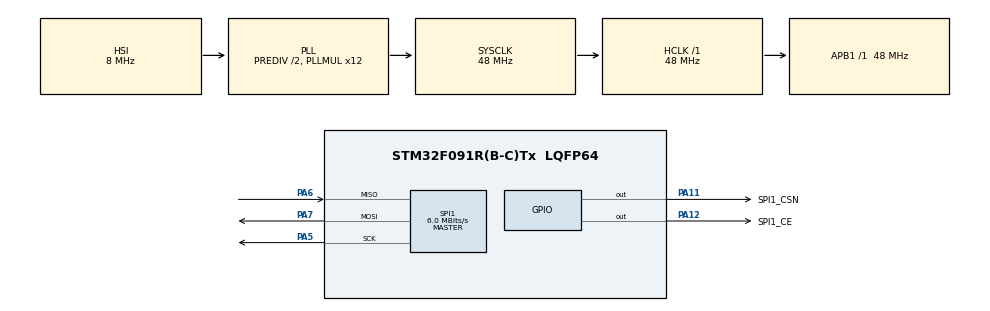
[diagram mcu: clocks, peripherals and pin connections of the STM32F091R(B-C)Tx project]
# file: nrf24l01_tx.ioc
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Mcu.Family=STM32F0
Mcu.Name=STM32F091R(B-C)Tx
Mcu.Package=LQFP64
PA11.GPIO_Label=SPI1_CSN
PA11.Signal=GPIO_Output
PA12.GPIO_Label=SPI1_CE
PA12.Signal=GPIO_Output
PA5.Mode=Full_Duplex_Master
PA5.Signal=SPI1_SCK
PA6.Mode=Full_Duplex_Master
PA6.Signal=SPI1_MISO
PA7.Mode=Full_Duplex_Master
PA7.Signal=SPI1_MOSI
PF0-OSC_IN.Mode=HSE-External-Oscillator
PF0-OSC_IN.Signal=RCC_OSC_IN
PF1-OSC_OUT.Mode=HSE-External-Oscillator
PF1-OSC_OUT.Signal=RCC_OSC_OUT
ProjectManager.HeapSize=0x200
ProjectManager.StackSize=0x400
ProjectManager.TargetToolchain=STM32CubeIDE
RCC.AHBFreq_Value=48000000
RCC.APB1Freq_Value=48000000
RCC.APB1TimFreq_Value=48000000
RCC.FLatency-AdvancedSettings=FLASH_LATENCY_1
RCC.HCLKFreq_Value=48000000
RCC.PLLDivider=RCC_PREDIV_DIV2
RCC.PLLMUL=RCC_PLL_MUL12
RCC.PREFETCH_ENABLE-AdvancedSettings=1
RCC.SYSCLKFreq_VALUE=48000000
RCC.SYSCLKSource=RCC_SYSCLKSOURCE_PLLCLK
SPI1.BaudRatePrescaler=SPI_BAUDRATEPRESCALER_8
SPI1.CalculateBaudRate=6.0 MBits/s
SPI1.DataSize=SPI_DATASIZE_8BIT
SPI1.Direction=SPI_DIRECTION_2LINES
SPI1.Mode=SPI_MODE_MASTER
SPI1.VirtualType=VM_MASTER
board=NUCLEO-F091RC

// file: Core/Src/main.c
/* USER CODE BEGIN Header */
/**
  ******************************************************************************
  * @file           : main.c
  * @brief          : Main program body
  ******************************************************************************
  * @attention
  *
  * Copyright (c) 2023 STMicroelectronics.
  * All rights reserved.
  *
  * This software is licensed under terms that can be found in the LICENSE file
  * in the root directory of this software component.
  * If no LICENSE file comes with this software, it is provided AS-IS.
  *
  ******************************************************************************
  */
/* USER CODE END Header */
#include "main.h"

/* USER CODE BEGIN Includes */
#include "MY_NRF24.h"
/* USER CODE END Includes */

SPI_HandleTypeDef hspi1;

void SystemClock_Config(void);
static void MX_GPIO_Init(void);
static void MX_SPI1_Init(void);

/* USER CODE BEGIN 0 */

uint64_t TxpipeAddrs = 0x223344AA223344AA;
uint64_t RxpipeAddrs = 0xFE6B2840FE6B2840;
uint8_t myTxData[32] = {0};

/* USER CODE END 0 */

int main(void)
{

  /* MCU Configuration--------------------------------------------------------*/

  /* Reset of all peripherals, Initializes the Flash interface and the Systick. */
  HAL_Init();

  /* Configure the system clock */
  SystemClock_Config();

  /* Initialize all configured peripherals */
  MX_GPIO_Init();
  MX_SPI1_Init();
  /* USER CODE BEGIN 2 */

	NRF24_begin(GPIOA, GPIO_PIN_11, GPIO_PIN_12, hspi1);

	//**** TRANSMIT - ACK ****//
	NRF24_stopListening();
	NRF24_openWritingPipe(TxpipeAddrs);
	NRF24_openReadingPipe(1, RxpipeAddrs);
//	NRF24_setAutoAck(true);
	NRF24_setChannel(52);
	NRF24_setPayloadSize(32);

//	NRF24_enableDynamicPayloads();
//	NRF24_enableAckPayload();
  /* USER CODE END 2 */

  /* Infinite loop */
  while (1)
  {

    /* USER CODE BEGIN 3 */
	if(NRF24_write(myTxData, 32))
	{
		NRF24_startListening();
		NRF24_DelayMicroSeconds(150);
		while(!NRF24_available())
		NRF24_read(myTxData, 32);
		NRF24_stopListening();
		NRF24_DelayMicroSeconds(150);
	}
	HAL_Delay(200);
  }
  /* USER CODE END 3 */
}

void SystemClock_Config(void)
{
  RCC_OscInitTypeDef RCC_OscInitStruct = {0};
  RCC_ClkInitTypeDef RCC_ClkInitStruct = {0};

  /** Initializes the RCC Oscillators according to the specified parameters
  * in the RCC_OscInitTypeDef structure.
  */
  RCC_OscInitStruct.OscillatorType = RCC_OSCILLATORTYPE_HSI;
  RCC_OscInitStruct.HSIState = RCC_HSI_ON;
  RCC_OscInitStruct.HSICalibrationValue = RCC_HSICALIBRATION_DEFAULT;
  RCC_OscInitStruct.PLL.PLLState = RCC_PLL_ON;
  RCC_OscInitStruct.PLL.PLLSource = RCC_PLLSOURCE_HSI;
  RCC_OscInitStruct.PLL.PLLMUL = RCC_PLL_MUL12;
  RCC_OscInitStruct.PLL.PREDIV = RCC_PREDIV_DIV2;
  if (HAL_RCC_OscConfig(&RCC_OscInitStruct) != HAL_OK)
  {
    Error_Handler();
  }

  /** Initializes the CPU, AHB and APB buses clocks
  */
  RCC_ClkInitStruct.ClockType = RCC_CLOCKTYPE_HCLK|RCC_CLOCKTYPE_SYSCLK
                              |RCC_CLOCKTYPE_PCLK1;
  RCC_ClkInitStruct.SYSCLKSource = RCC_SYSCLKSOURCE_PLLCLK;
  RCC_ClkInitStruct.AHBCLKDivider = RCC_SYSCLK_DIV1;
  RCC_ClkInitStruct.APB1CLKDivider = RCC_HCLK_DIV1;

  if (HAL_RCC_ClockConfig(&RCC_ClkInitStruct, FLASH_LATENCY_1) != HAL_OK)
  {
    Error_Handler();
  }
}

static void MX_SPI1_Init(void)
{

  /* SPI1 parameter configuration*/
  hspi1.Instance = SPI1;
  hspi1.Init.Mode = SPI_MODE_MASTER;
  hspi1.Init.Direction = SPI_DIRECTION_2LINES;
  hspi1.Init.DataSize = SPI_DATASIZE_8BIT;
  hspi1.Init.CLKPolarity = SPI_POLARITY_LOW;
  hspi1.Init.CLKPhase = SPI_PHASE_1EDGE;
  hspi1.Init.NSS = SPI_NSS_SOFT;
  hspi1.Init.BaudRatePrescaler = SPI_BAUDRATEPRESCALER_8;
  hspi1.Init.FirstBit = SPI_FIRSTBIT_MSB;
  hspi1.Init.TIMode = SPI_TIMODE_DISABLE;
  hspi1.Init.CRCCalculation = SPI_CRCCALCULATION_DISABLE;
  hspi1.Init.CRCPolynomial = 7;
  hspi1.Init.CRCLength = SPI_CRC_LENGTH_DATASIZE;
  hspi1.Init.NSSPMode = SPI_NSS_PULSE_ENABLE;
  if (HAL_SPI_Init(&hspi1) != HAL_OK)
  {
    Error_Handler();
  }

}

static void MX_GPIO_Init(void)
{
  GPIO_InitTypeDef GPIO_InitStruct = {0};

  /* GPIO Ports Clock Enable */
  __HAL_RCC_GPIOF_CLK_ENABLE();
  __HAL_RCC_GPIOA_CLK_ENABLE();

  /*Configure GPIO pin Output Level */
  HAL_GPIO_WritePin(GPIOA, SPI1_CSN_Pin|SPI1_CE_Pin, GPIO_PIN_RESET);

  /*Configure GPIO pins : SPI1_CSN_Pin SPI1_CE_Pin */
  GPIO_InitStruct.Pin = SPI1_CSN_Pin|SPI1_CE_Pin;
  GPIO_InitStruct.Mode = GPIO_MODE_OUTPUT_PP;
  GPIO_InitStruct.Pull = GPIO_NOPULL;
  GPIO_InitStruct.Speed = GPIO_SPEED_FREQ_LOW;
  HAL_GPIO_Init(GPIOA, &GPIO_InitStruct);

}

void Error_Handler(void)
{
  __disable_irq();
  while (1)
  {
  }
}
